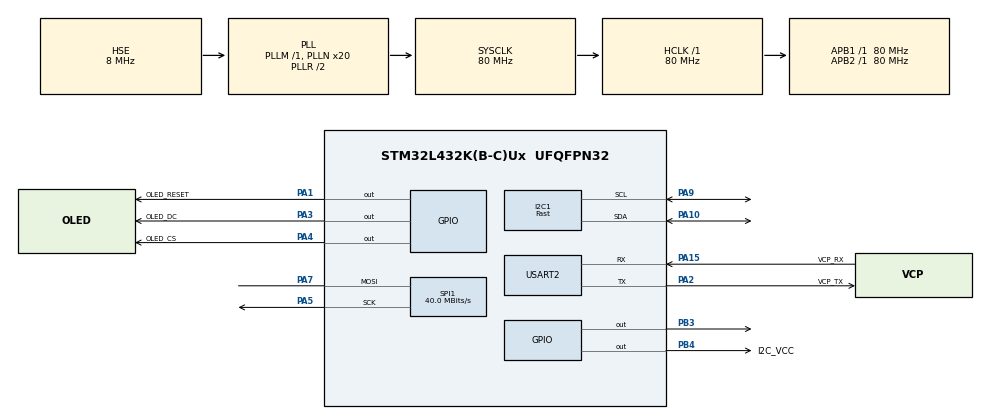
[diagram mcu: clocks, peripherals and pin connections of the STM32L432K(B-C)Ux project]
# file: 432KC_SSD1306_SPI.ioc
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Dma.Request0=SPI1_TX
Dma.SPI1_TX.0.Direction=DMA_MEMORY_TO_PERIPH
Dma.SPI1_TX.0.Instance=DMA1_Channel3
Dma.SPI1_TX.0.MemDataAlignment=DMA_MDATAALIGN_BYTE
Dma.SPI1_TX.0.MemInc=DMA_MINC_ENABLE
Dma.SPI1_TX.0.Mode=DMA_NORMAL
Dma.SPI1_TX.0.PeriphDataAlignment=DMA_PDATAALIGN_BYTE
Dma.SPI1_TX.0.PeriphInc=DMA_PINC_DISABLE
Dma.SPI1_TX.0.Priority=DMA_PRIORITY_LOW
I2C1.I2C_Speed_Mode=I2C_Fast
I2C1.Timing=0x00702991
Mcu.Family=STM32L4
Mcu.Name=STM32L432K(B-C)Ux
Mcu.Package=UFQFPN32
NVIC.DMA1_Channel3_IRQn=true\:0\:0\:false\:false\:true\:false\:true
NVIC.PriorityGroup=NVIC_PRIORITYGROUP_4
NVIC.RCC_IRQn=true\:0\:0\:false\:false\:true\:true\:false
NVIC.SPI1_IRQn=true\:0\:0\:false\:false\:true\:true\:true
NVIC.TIM6_DAC_IRQn=true\:0\:0\:false\:false\:true\:true\:true
PA0.GPIO_Label=MCO [High speed clock in]
PA0.Mode=HSE-External-Clock-Source-for-LittleOrca
PA0.Signal=RCC_CK_IN
PA1.GPIO_Label=OLED_RESET
PA1.Signal=GPIO_Output
PA10.Mode=I2C
PA10.Signal=I2C1_SDA
PA13\ (JTMS-SWDIO).GPIO_Label=SWDIO
PA13\ (JTMS-SWDIO).Mode=Serial_Wire
PA13\ (JTMS-SWDIO).Signal=SYS_JTMS-SWDIO
PA14\ (JTCK-SWCLK).GPIO_Label=SWCLK
PA14\ (JTCK-SWCLK).Mode=Serial_Wire
PA14\ (JTCK-SWCLK).Signal=SYS_JTCK-SWCLK
PA15\ (JTDI).GPIO_Label=VCP_RX
PA15\ (JTDI).Mode=Asynchronous
PA15\ (JTDI).Signal=USART2_RX
PA2.GPIO_Label=VCP_TX
PA2.Mode=Asynchronous
PA2.Signal=USART2_TX
PA3.GPIO_Label=OLED_DC
PA3.Signal=GPIO_Output
PA4.GPIO_Label=OLED_CS
PA4.Signal=GPIO_Output
PA5.Mode=Simplex_Bidirectional_Master
PA5.Signal=SPI1_SCK
PA7.Mode=Simplex_Bidirectional_Master
PA7.Signal=SPI1_MOSI
PA9.Mode=I2C
PA9.Signal=I2C1_SCL
PB3\ (JTDO-TRACESWO).Signal=GPIO_Output
PB4\ (NJTRST).GPIO_Label=I2C_VCC
PB4\ (NJTRST).Signal=GPIO_Output
PC14-OSC32_IN\ (PC14).Mode=LSE-External-Oscillator
PC14-OSC32_IN\ (PC14).Signal=RCC_OSC32_IN
PC15-OSC32_OUT\ (PC15).Mode=LSE-External-Oscillator
PC15-OSC32_OUT\ (PC15).Signal=RCC_OSC32_OUT
ProjectManager.HeapSize=0x200
ProjectManager.StackSize=0x400
ProjectManager.TargetToolchain=STM32CubeIDE
RCC.ADCFreq_Value=32000000
RCC.AHBFreq_Value=80000000
RCC.APB1Freq_Value=80000000
RCC.APB1TimFreq_Value=80000000
RCC.APB2Freq_Value=80000000
RCC.APB2TimFreq_Value=80000000
RCC.CortexFreq_Value=80000000
RCC.HCLKFreq_Value=80000000
RCC.HSE_VALUE=8000000
RCC.HSI16_VALUE=16000000
RCC.HSI48_VALUE=48000000
RCC.HSI_VALUE=16000000
RCC.MSI_VALUE=4000000
RCC.PLLMUL=RCC_PLLMUL_4
RCC.PLLN=20
RCC.PLLSourceVirtual=RCC_PLLSOURCE_HSE
RCC.SYSCLKFreq_VALUE=80000000
RCC.SYSCLKSource=RCC_SYSCLKSOURCE_PLLCLK
RCC.USBFreq_Value=32000000
RCC.VCOOutputFreq_Value=160000000
SPI1.CalculateBaudRate=40.0 MBits/s
SPI1.DataSize=SPI_DATASIZE_8BIT
SPI1.Direction=SPI_DIRECTION_1LINE
SPI1.Mode=SPI_MODE_MASTER
SPI1.VirtualType=VM_MASTER
TIM6.Period=10000-1
TIM6.Prescaler=800-1
USART2.VirtualMode-Asynchronous=VM_ASYNC
VP_TIM6_VS_ClockSourceINT.Mode=Enable_Timer
board=NUCLEO-L432KC

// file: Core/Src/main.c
/* USER CODE BEGIN Header */
/**
  ******************************************************************************
  * @file           : main.c
  * @brief          : Main program body
  ******************************************************************************
  * @attention
  *
  * Copyright (c) 2021 STMicroelectronics.
  * All rights reserved.
  *
  * This software is licensed under terms that can be found in the LICENSE file
  * in the root directory of this software component.
  * If no LICENSE file comes with this software, it is provided AS-IS.
  *
  ******************************************************************************
  */
/* USER CODE END Header */
#include "main.h"

/* USER CODE BEGIN Includes */
#include <stdio.h>
#include <stdbool.h>
#include "ssd1306.h"
#include "ssd1306_tests.h"
#include "L3G4200D.h"      // Gyro Module include
#include "ADXL345.h"       // Acc Module include
#include "HMC5883L.h"      // Compass Module include
#include "BMP180.h"        // Barometer Module include
/* USER CODE END Includes */

/* USER CODE BEGIN PTD */
#define HSPI_INSTANCE			&hspi1

/* USER CODE END PTD */

I2C_HandleTypeDef hi2c1;

SPI_HandleTypeDef hspi1;
DMA_HandleTypeDef hdma_spi1_tx;

TIM_HandleTypeDef htim6;

UART_HandleTypeDef huart2;

/* USER CODE BEGIN PV */
volatile uint32_t ADC[3];
volatile bool GyroData=false;
/* USER CODE END PV */

void SystemClock_Config(void);
static void MX_GPIO_Init(void);
static void MX_DMA_Init(void);
static void MX_USART2_UART_Init(void);
static void MX_SPI1_Init(void);
static void MX_I2C1_Init(void);
static void MX_TIM6_Init(void);
/* USER CODE BEGIN PFP */
void HAL_SPI_TxCpltCallback(SPI_HandleTypeDef *hspi);
void HAL_TIM_PeriodElapsedCallback(TIM_HandleTypeDef *htim);

/* USER CODE END PFP */

/* USER CODE BEGIN 0 */
void HAL_SPI_TxCpltCallback(SPI_HandleTypeDef *hspi)
{
  // Deselect when Tx Complete
  if(hspi == HSPI_INSTANCE)
  {
	  HAL_GPIO_WritePin(GPIOA, OLED_CS_Pin, GPIO_PIN_SET);
  }
}

void HAL_TIM_PeriodElapsedCallback(TIM_HandleTypeDef *htim)
{
	if(htim->Instance==TIM6)   GyroData = true;
}

/* USER CODE END 0 */

int main(void)
{
  /* USER CODE BEGIN 1 */
	char str[40];
    int16_t yy=0;
  /* USER CODE END 1 */

  /* MCU Configuration--------------------------------------------------------*/

  /* Reset of all peripherals, Initializes the Flash interface and the Systick. */
  HAL_Init();

  /* Configure the system clock */
  SystemClock_Config();

  /* Initialize all configured peripherals */
  MX_GPIO_Init();
 // MX_DMA_Init();
  MX_USART2_UART_Init();
  MX_SPI1_Init();
  MX_I2C1_Init();
  MX_TIM6_Init();
  /* USER CODE BEGIN 2 */

  // SSD1306 OLED Init
  ssd1306_Init();

  GY_801_Start();

  Init_L3G4200D();
  Init_ADXL345();
  HAL_Delay(100);
  Init_HMC5883L();
  HAL_Delay(100);

  // Timer Interrupt Init
  while(HAL_TIM_Base_Start_IT(&htim6)!=HAL_OK);

  sprintf(str,"MPU_Check : 0x%X\r\n",L3G4200D_WhoAmI());
  ssd1306_SetCursor(2, yy);
  ssd1306_WriteString(str, Font_7x10, White);

  /* USER CODE END 2 */

  /* Infinite loop */
  /* USER CODE BEGIN WHILE */

  bool tgl=true;
  yy = 12;

  while (1)
  {
    /* USER CODE END WHILE */

    /* USER CODE BEGIN 3 */

	  if(GyroData==true) {
		  float	temp;
		  int32_t press;
		  float altitude;

		  L3G4200D_Read(&G);
		  ADXL345_Read(&A);
		  HMC5883L_Read(&C);

		  temp = BMP180_GetTempC();
		  press = BMP180_GetPressure();
		  altitude = BMP180_GetAltitude(press);

		  sprintf(str,"%6d%6d%6d",G.x,G.y,G.z);
		  ssd1306_SetCursor(2, yy);
		  ssd1306_WriteString(str, Font_7x10, White);

		  yy += 12;
		  sprintf(str,"%6d%6d%6d",A.x,A.y,A.z);
		  ssd1306_SetCursor(2, yy);
		  ssd1306_WriteString(str, Font_7x10, White);

		  yy += 12;
		  sprintf(str,"%6d%6d%6d",C.x,C.y,C.z);
		  ssd1306_SetCursor(2, yy);
		  ssd1306_WriteString(str, Font_7x10, White);

		  yy += 12;
		  //ssd1306_SetCursor(2, yy);
		  //double aref1,aref2;
		  //aref1 = aref2 = 4915.0 / (double)ADC[0];  // 1.2v -> 3.3v
		  //aref1 = ((aref1 * ADC[1]) / 4096.0) / aref1;
		  //aref2 = ((aref1 * ADC[2]) / 4096.0) / aref1;

		  //sprintf(str,"%6.2f%7ld%6.2f",temp,press,altitude);     // aref1*125-12.5, aref2*218.75-66.875);
		  //ssd1306_WriteString(str, Font_7x10, White);
		  tgl = !tgl;
	  	  ssd1306_UpdateScreen();

	  	  yy = 12;
	  	  HAL_Delay(500);
	  }
  }
  /* USER CODE END 3 */
}

void SystemClock_Config(void)
{
  RCC_OscInitTypeDef RCC_OscInitStruct = {0};
  RCC_ClkInitTypeDef RCC_ClkInitStruct = {0};

  /** Configure the main internal regulator output voltage
  */
  if (HAL_PWREx_ControlVoltageScaling(PWR_REGULATOR_VOLTAGE_SCALE1) != HAL_OK)
  {
    Error_Handler();
  }
  /** Initializes the RCC Oscillators according to the specified parameters
  * in the RCC_OscInitTypeDef structure.
  */
  RCC_OscInitStruct.OscillatorType = RCC_OSCILLATORTYPE_HSE;
  RCC_OscInitStruct.HSEState = RCC_HSE_BYPASS;
  RCC_OscInitStruct.PLL.PLLState = RCC_PLL_ON;
  RCC_OscInitStruct.PLL.PLLSource = RCC_PLLSOURCE_HSE;
  RCC_OscInitStruct.PLL.PLLM = 1;
  RCC_OscInitStruct.PLL.PLLN = 20;
  RCC_OscInitStruct.PLL.PLLP = RCC_PLLP_DIV7;
  RCC_OscInitStruct.PLL.PLLQ = RCC_PLLQ_DIV2;
  RCC_OscInitStruct.PLL.PLLR = RCC_PLLR_DIV2;
  if (HAL_RCC_OscConfig(&RCC_OscInitStruct) != HAL_OK)
  {
    Error_Handler();
  }
  /** Initializes the CPU, AHB and APB buses clocks
  */
  RCC_ClkInitStruct.ClockType = RCC_CLOCKTYPE_HCLK|RCC_CLOCKTYPE_SYSCLK
                              |RCC_CLOCKTYPE_PCLK1|RCC_CLOCKTYPE_PCLK2;
  RCC_ClkInitStruct.SYSCLKSource = RCC_SYSCLKSOURCE_PLLCLK;
  RCC_ClkInitStruct.AHBCLKDivider = RCC_SYSCLK_DIV1;
  RCC_ClkInitStruct.APB1CLKDivider = RCC_HCLK_DIV1;
  RCC_ClkInitStruct.APB2CLKDivider = RCC_HCLK_DIV1;

  if (HAL_RCC_ClockConfig(&RCC_ClkInitStruct, FLASH_LATENCY_4) != HAL_OK)
  {
    Error_Handler();
  }
}

static void MX_I2C1_Init(void)
{

  hi2c1.Instance = I2C1;
  hi2c1.Init.Timing = 0x00702991;
  hi2c1.Init.OwnAddress1 = 0;
  hi2c1.Init.AddressingMode = I2C_ADDRESSINGMODE_7BIT;
  hi2c1.Init.DualAddressMode = I2C_DUALADDRESS_DISABLE;
  hi2c1.Init.OwnAddress2 = 0;
  hi2c1.Init.OwnAddress2Masks = I2C_OA2_NOMASK;
  hi2c1.Init.GeneralCallMode = I2C_GENERALCALL_DISABLE;
  hi2c1.Init.NoStretchMode = I2C_NOSTRETCH_DISABLE;
  if (HAL_I2C_Init(&hi2c1) != HAL_OK)
  {
    Error_Handler();
  }
  /** Configure Analogue filter
  */
  if (HAL_I2CEx_ConfigAnalogFilter(&hi2c1, I2C_ANALOGFILTER_ENABLE) != HAL_OK)
  {
    Error_Handler();
  }
  /** Configure Digital filter
  */
  if (HAL_I2CEx_ConfigDigitalFilter(&hi2c1, 0) != HAL_OK)
  {
    Error_Handler();
  }

}

static void MX_SPI1_Init(void)
{

  /* SPI1 parameter configuration*/
  hspi1.Instance = SPI1;
  hspi1.Init.Mode = SPI_MODE_MASTER;
  hspi1.Init.Direction = SPI_DIRECTION_1LINE;
  hspi1.Init.DataSize = SPI_DATASIZE_8BIT;
  hspi1.Init.CLKPolarity = SPI_POLARITY_LOW;
  hspi1.Init.CLKPhase = SPI_PHASE_1EDGE;
  hspi1.Init.NSS = SPI_NSS_SOFT;
  hspi1.Init.BaudRatePrescaler = SPI_BAUDRATEPRESCALER_2;
  hspi1.Init.FirstBit = SPI_FIRSTBIT_MSB;
  hspi1.Init.TIMode = SPI_TIMODE_DISABLE;
  hspi1.Init.CRCCalculation = SPI_CRCCALCULATION_DISABLE;
  hspi1.Init.CRCPolynomial = 7;
  hspi1.Init.CRCLength = SPI_CRC_LENGTH_DATASIZE;
  hspi1.Init.NSSPMode = SPI_NSS_PULSE_ENABLE;
  if (HAL_SPI_Init(&hspi1) != HAL_OK)
  {
    Error_Handler();
  }

}

static void MX_TIM6_Init(void)
{

  TIM_MasterConfigTypeDef sMasterConfig = {0};

  htim6.Instance = TIM6;
  htim6.Init.Prescaler = 800-1;
  htim6.Init.CounterMode = TIM_COUNTERMODE_UP;
  htim6.Init.Period = 10000-1;
  htim6.Init.AutoReloadPreload = TIM_AUTORELOAD_PRELOAD_DISABLE;
  if (HAL_TIM_Base_Init(&htim6) != HAL_OK)
  {
    Error_Handler();
  }
  sMasterConfig.MasterOutputTrigger = TIM_TRGO_RESET;
  sMasterConfig.MasterSlaveMode = TIM_MASTERSLAVEMODE_DISABLE;
  if (HAL_TIMEx_MasterConfigSynchronization(&htim6, &sMasterConfig) != HAL_OK)
  {
    Error_Handler();
  }

}

static void MX_USART2_UART_Init(void)
{

  huart2.Instance = USART2;
  huart2.Init.BaudRate = 115200;
  huart2.Init.WordLength = UART_WORDLENGTH_8B;
  huart2.Init.StopBits = UART_STOPBITS_1;
  huart2.Init.Parity = UART_PARITY_NONE;
  huart2.Init.Mode = UART_MODE_TX_RX;
  huart2.Init.HwFlowCtl = UART_HWCONTROL_NONE;
  huart2.Init.OverSampling = UART_OVERSAMPLING_16;
  huart2.Init.OneBitSampling = UART_ONE_BIT_SAMPLE_DISABLE;
  huart2.AdvancedInit.AdvFeatureInit = UART_ADVFEATURE_NO_INIT;
  if (HAL_UART_Init(&huart2) != HAL_OK)
  {
    Error_Handler();
  }

}

static void MX_DMA_Init(void)
{

  /* DMA controller clock enable */
  __HAL_RCC_DMA1_CLK_ENABLE();

  /* DMA interrupt init */
  /* DMA1_Channel3_IRQn interrupt configuration */
  HAL_NVIC_SetPriority(DMA1_Channel3_IRQn, 0, 0);
  HAL_NVIC_EnableIRQ(DMA1_Channel3_IRQn);

}

static void MX_GPIO_Init(void)
{
  GPIO_InitTypeDef GPIO_InitStruct = {0};

  /* GPIO Ports Clock Enable */
  __HAL_RCC_GPIOC_CLK_ENABLE();
  __HAL_RCC_GPIOA_CLK_ENABLE();
  __HAL_RCC_GPIOB_CLK_ENABLE();

  /*Configure GPIO pin Output Level */
  HAL_GPIO_WritePin(GPIOA, OLED_RESET_Pin|OLED_DC_Pin|OLED_CS_Pin, GPIO_PIN_RESET);

  /*Configure GPIO pin Output Level */
  HAL_GPIO_WritePin(GPIOB, GPIO_PIN_3|I2C_VCC_Pin, GPIO_PIN_RESET);

  /*Configure GPIO pins : OLED_RESET_Pin OLED_DC_Pin OLED_CS_Pin */
  GPIO_InitStruct.Pin = OLED_RESET_Pin|OLED_DC_Pin|OLED_CS_Pin;
  GPIO_InitStruct.Mode = GPIO_MODE_OUTPUT_PP;
  GPIO_InitStruct.Pull = GPIO_NOPULL;
  GPIO_InitStruct.Speed = GPIO_SPEED_FREQ_LOW;
  HAL_GPIO_Init(GPIOA, &GPIO_InitStruct);

  /*Configure GPIO pins : PB3 I2C_VCC_Pin */
  GPIO_InitStruct.Pin = GPIO_PIN_3|I2C_VCC_Pin;
  GPIO_InitStruct.Mode = GPIO_MODE_OUTPUT_PP;
  GPIO_InitStruct.Pull = GPIO_NOPULL;
  GPIO_InitStruct.Speed = GPIO_SPEED_FREQ_LOW;
  HAL_GPIO_Init(GPIOB, &GPIO_InitStruct);

}

/* USER CODE BEGIN 4 */
//**********************************************************************
// printf
//**********************************************************************

#ifdef __GNUC__
int _write(int file,uint8_t*ptr,int len)
{
	HAL_UART_Transmit(&huart2,ptr,len,1000);
return len;
}
#elif (__ICCARM__||__CC_ARM)
int fputc(int c,FILE*stream)
{
	HAL_UART_Transmit(&huart2,(uint8_t*)&c,1,1000);
	return c;
}
#endif

/* USER CODE END 4 */

void Error_Handler(void)
{
  __disable_irq();
  while (1)
  {
  }
}
